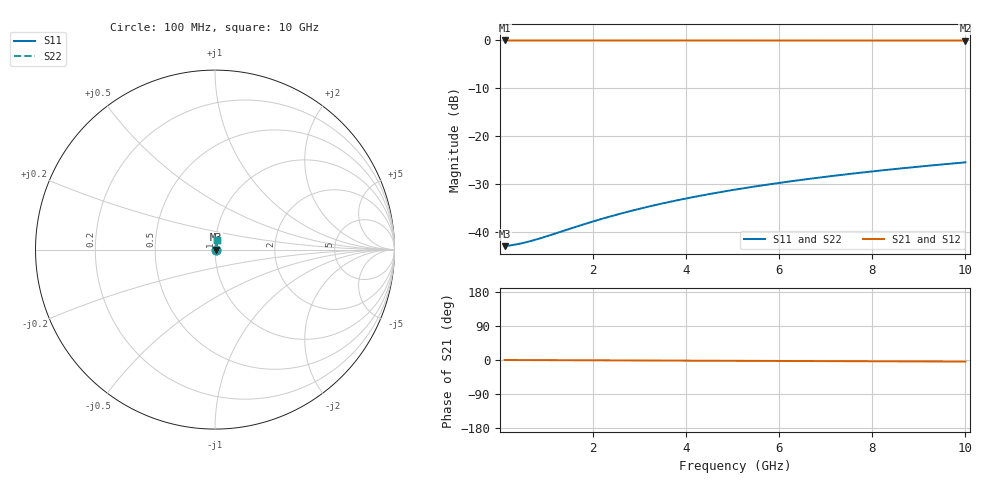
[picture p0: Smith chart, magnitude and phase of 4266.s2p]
# Hz S RI R 50.00
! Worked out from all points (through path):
!   100 points, 100 MHz to 10 GHz, reference 50 ohm
!   highest |S21| = -0.06 dB at 100 MHz (marker M1); lowest = -0.1 dB at 10 GHz (marker M2)
!   lowest |S11| = -42.9 dB at 100 MHz (marker M3), VSWR 1.01, Z = 50.7 + j0.0533 ohm
!   |S11| at or under -10 dB: start of sweep to end of sweep
!   |S22| runs from -42.9 to -25.4 dB; largest |S21 - S12| = 0
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1e8  0.00718 0.000525  0.9928 -0.000729  0.9928 -0.000729  0.00718 0.000525
3e8  0.00726 0.00158  0.9927 -0.00219  0.9927 -0.00219  0.00726 0.00158
4e8  0.00729 0.0021  0.9927 -0.00292  0.9927 -0.00292  0.00729 0.0021
5e8  0.00732 0.00263  0.9927 -0.00364  0.9927 -0.00364  0.00732 0.00263
7e8  0.00737 0.00368  0.9926 -0.0051  0.9926 -0.0051  0.00737 0.00368
1e9  0.00743 0.00525  0.9926 -0.00729  0.9926 -0.00729  0.00743 0.00525
1.8e9  0.00761 0.00945  0.9924 -0.0131  0.9924 -0.0131  0.00761 0.00945
2.2e9  0.0077 0.0115  0.9923 -0.016  0.9923 -0.016  0.0077 0.0115
2.6e9  0.0078 0.0136  0.9922 -0.0189  0.9922 -0.0189  0.0078 0.0136
3e9  0.00792 0.0157  0.9921 -0.0218  0.9921 -0.0218  0.00792 0.0157
3.4e9  0.00804 0.0178  0.9919 -0.0248  0.9919 -0.0248  0.00804 0.0178
3.8e9  0.00817 0.0199  0.9918 -0.0277  0.9918 -0.0277  0.00817 0.0199
4.2e9  0.00832 0.022  0.9916 -0.0306  0.9916 -0.0306  0.00832 0.022
4.6e9  0.00847 0.0241  0.9915 -0.0335  0.9915 -0.0335  0.00847 0.0241
5.1e9  0.00868 0.0267  0.9913 -0.0371  0.9913 -0.0371  0.00868 0.0267
5.5e9  0.00887 0.0288  0.9911 -0.04  0.9911 -0.04  0.00887 0.0288
5.9e9  0.00906 0.0309  0.9909 -0.0429  0.9909 -0.0429  0.00906 0.0309
6.7e9  0.00948 0.0351  0.9904 -0.0487  0.9904 -0.0487  0.00948 0.0351
7.5e9  0.00995 0.0393  0.9899 -0.0545  0.9899 -0.0545  0.00995 0.0393
8.4e9  0.0105 0.044  0.9893 -0.0611  0.9893 -0.0611  0.0105 0.044
9.2e9  0.0111 0.0481  0.9887 -0.0669  0.9887 -0.0669  0.0111 0.0481
1e10  0.0117 0.0523  0.988 -0.0726  0.988 -0.0726  0.0117 0.0523
